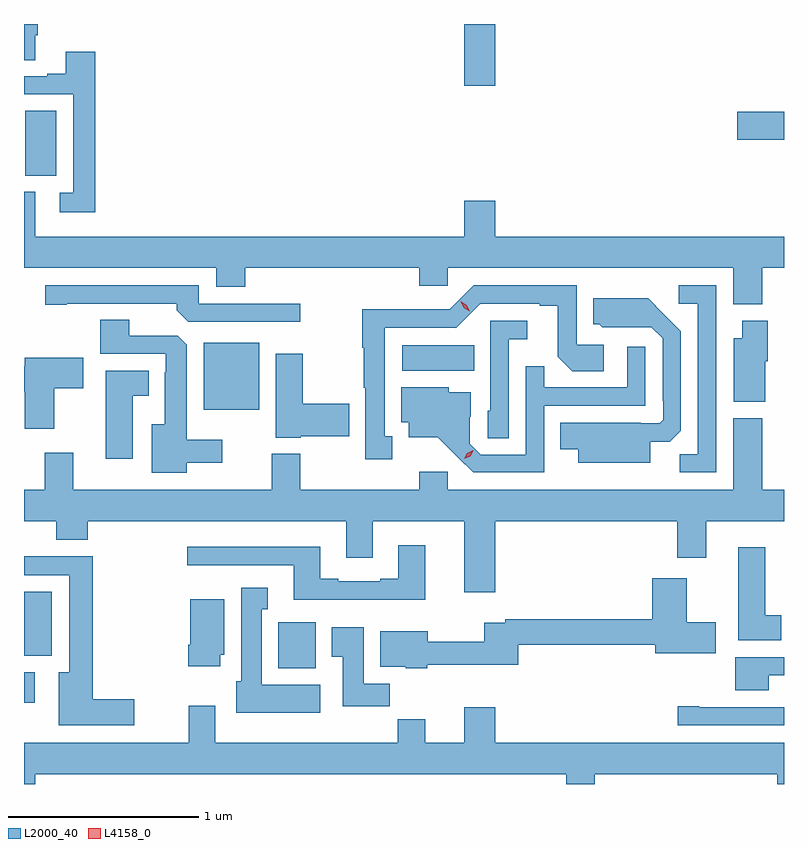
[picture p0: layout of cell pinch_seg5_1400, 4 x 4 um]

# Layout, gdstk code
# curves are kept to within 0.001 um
import gdstk
lib = gdstk.Library(unit=1e-6, precision=1e-09)
def R(c, l, rs):  # rectangles x0, y0, x1, y1
    for r in rs: c.add(gdstk.rectangle(r[:2], r[2:], *l))
def P(c, l, *ps):  # polygons
    for p in ps: c.add(gdstk.Polygon(p, *l))
L2000_40 = (2000, 40)
L4158_0 = (4158, 0)

pinch_seg5_1400 = lib.new_cell('pinch_seg5_1400')
R(pinch_seg5_1400, L2000_40, [(126.728,910.416,126.784,910.575), (128.066,910.598,128.263,910.84), (126.728,910.664,126.874,910.999), (127.673,911.957,127.966,912.31), (128.718,912.164,129.098,912.298), (126.734,913.189,126.898,913.532), (130.482,913.379,130.728,913.526), (129.044,913.662,129.208,913.988)])
P(pinch_seg5_1400, L2000_40, [(126.787,913.93),(126.8,913.93),(126.8,913.988),(126.728,913.988),(126.728,913.798),(126.787,913.798)],
  [(127.103,913.843),(126.947,913.843),(126.947,913.726),(126.851,913.726),(126.851,913.713),(126.728,913.713),(126.728,913.617),(126.987,913.617),(126.987,913.101),(126.915,913.101),(126.915,912.996),(127.103,912.996)],
  [(130.613,912.704),(130.728,912.704),(130.728,912.868),(129.208,912.868),(129.208,913.057),(129.044,913.057),(129.044,912.868),(126.787,912.868),(126.787,913.104),(126.728,913.104),(126.728,912.704),(127.739,912.704),(127.739,912.605),(127.892,912.605),(127.892,912.704),(128.807,912.704),(128.807,912.611),(128.958,912.611),(128.958,912.704),(130.46,912.704),(130.46,912.512),(130.613,912.512)],
  [(128.182,912.516),(127.647,912.516),(127.647,912.612),(126.84,912.612),(126.84,912.511),(126.952,912.511),(126.952,912.516),(127.532,912.516),(127.532,912.482),(127.593,912.42),(128.182,912.42)],
  [(130.371,912.612),(130.173,912.612),(130.173,912.516),(130.275,912.516),(130.275,911.723),(130.18,911.723),(130.18,911.628),(130.371,911.628)],
  [(128.665,911.817),(128.626,911.817),(128.626,912.39),(129.003,912.39),(129.129,912.516),(129.443,912.516),(129.443,912.504),(129.537,912.504),(129.537,912.236),(129.613,912.16),(129.778,912.16),(129.778,912.3),(129.636,912.3),(129.636,912.612),(129.096,912.612),(128.97,912.486),(128.748,912.486),(128.748,912.488),(128.508,912.488),(128.508,912.283),(128.515,912.283),(128.515,912.073),(128.525,912.073),(128.525,911.697),(128.665,911.697)],
  [(130.024,911.789),(130.126,911.789),(130.185,911.848),(130.185,912.37),(130.013,912.544),(129.725,912.544),(129.725,912.408),(129.756,912.408),(129.772,912.392),(130.029,912.393),(130.089,912.333),(130.089,912.004),(130.092,912.004),(130.092,911.904),(130.074,911.886),(129.974,911.886),(129.974,911.89),(129.55,911.89),(129.55,911.75),(129.644,911.75),(129.644,911.678),(130.024,911.678)],
  [(127.585,911.678),(127.771,911.678),(127.771,911.8),(127.585,911.8),(127.585,912.299),(127.536,912.348),(127.282,912.348),(127.282,912.431),(127.13,912.431),(127.13,912.252),(127.473,912.252),(127.473,912.155),(127.469,912.155),(127.469,911.881),(127.4,911.881),(127.4,911.627),(127.585,911.627)],
  [(130.63,912.213),(130.643,912.213),(130.643,912.427),(130.508,912.427),(130.508,912.334),(130.463,912.334),(130.463,911.999),(130.63,911.999)],
  [(129.279,912.329),(129.376,912.329),(129.376,912.426),(129.183,912.426),(129.183,911.952),(129.168,911.952),(129.168,911.809),(129.279,911.809)],
  [(129.465,911.979),(129.999,911.979),(129.999,912.289),(129.903,912.289),(129.903,912.075),(129.467,912.075),(129.467,912.188),(129.369,912.188),(129.369,911.721),(129.132,911.721),(129.075,911.778),(129.075,911.92),(129.079,911.92),(129.079,912.049),(128.964,912.049),(128.964,912.076),(128.714,912.076),(128.714,911.892),(128.753,911.892),(128.753,911.813),(128.905,911.813),(129.092,911.628),(129.465,911.628)],
  [(128.184,911.819),(128.44,911.819),(128.44,911.99),(128.196,911.99),(128.196,912.253),(128.054,912.253),(128.054,911.81),(128.184,911.81)],
  [(126.886,912.07),(127.039,912.07),(127.039,912.232),(126.731,912.232),(126.731,912.188),(126.728,912.188),(126.728,912.052),(126.731,912.052),(126.731,911.859),(126.886,911.859)],
  [(127.3,912.032),(127.384,912.032),(127.384,912.163),(127.157,912.163),(127.157,911.7),(127.3,911.7)],
  [(129.208,911.372),(130.166,911.372),(130.166,911.178),(130.318,911.178),(130.318,911.372),(130.728,911.372),(130.728,911.536),(130.613,911.536),(130.613,911.914),(130.46,911.914),(130.46,911.536),(128.958,911.536),(128.958,911.632),(128.807,911.632),(128.807,911.536),(128.181,911.536),(128.181,911.725),(128.033,911.725),(128.033,911.536),(126.988,911.536),(126.988,911.731),(126.836,911.731),(126.836,911.536),(126.728,911.536),(126.728,911.372),(126.899,911.372),(126.899,911.273),(127.064,911.273),(127.064,911.372),(128.423,911.372),(128.423,911.178),(128.563,911.178),(128.563,911.372),(129.044,911.372),(129.044,910.998),(129.208,910.998)],
  [(128.839,911.245),(128.699,911.245),(128.699,911.068),(128.603,911.068),(128.603,911.055),(128.383,911.055),(128.383,911.068),(128.287,911.068),(128.287,911.236),(127.587,911.236),(127.587,911.139),(128.147,911.139),(128.147,910.958),(128.839,910.958)],
  [(130.714,910.876),(130.63,910.876),(130.63,911.233),(130.487,911.233),(130.487,910.745),(130.714,910.745)],
  [(127.309,910.433),(127.091,910.433),(127.091,911.186),(126.728,911.186),(126.728,911.088),(126.965,911.088),(126.965,910.576),(126.911,910.576),(126.911,910.298),(127.309,910.298)],
  [(128.85,910.616),(129.329,910.616),(129.329,910.72),(130.05,910.72),(130.05,910.676),(130.369,910.676),(130.369,910.839),(130.216,910.839),(130.216,911.071),(130.034,911.071),(130.034,910.856),(129.262,910.856),(129.262,910.836),(129.151,910.836),(129.151,910.738),(128.854,910.738),(128.854,910.792),(128.603,910.792),(128.603,910.604),(128.736,910.604),(128.736,910.598),(128.85,910.598)],
  [(128.287,910.51),(127.978,910.51),(127.978,910.907),(128.011,910.907),(128.011,911.02),(127.871,911.02),(127.871,910.53),(127.844,910.53),(127.844,910.364),(128.287,910.364)],
  [(127.762,910.668),(127.783,910.668),(127.783,910.96),(127.604,910.96),(127.604,910.72),(127.592,910.72),(127.592,910.608),(127.762,910.608)],
  [(128.654,910.516),(128.515,910.516),(128.515,910.813),(128.348,910.813),(128.348,910.657),(128.405,910.657),(128.405,910.398),(128.654,910.398)],
  [(130.648,910.56),(130.728,910.56),(130.728,910.656),(130.472,910.656),(130.472,910.481),(130.648,910.481)],
  [(126.788,910.04),(129.581,910.04),(129.581,909.988),(129.733,909.988),(129.733,910.04),(130.693,910.04),(130.693,909.988),(130.728,909.988),(130.728,910.204),(129.208,910.204),(129.208,910.393),(129.044,910.393),(129.044,910.204),(128.839,910.204),(128.839,910.328),(128.695,910.328),(128.695,910.204),(127.735,910.204),(127.735,910.399),(127.595,910.399),(127.595,910.204),(126.728,910.204),(126.728,909.988),(126.788,909.988)],
  [(130.728,910.392),(130.282,910.392),(130.282,910.397),(130.17,910.397),(130.17,910.296),(130.728,910.296)])
P(pinch_seg5_1400, L4158_0, [(129.075,912.475),(129.043,912.495),(129.027,912.528),(129.027,912.528),(129.027,912.528),(129.058,912.508),(129.075,912.475),(129.075,912.475)],
  [(129.045,911.699),(129.045,911.699),(129.062,911.728),(129.092,911.744),(129.093,911.744),(129.093,911.743),(129.076,911.714),(129.045,911.699)])

lib.write_gds('pinch_seg5_1400.gds')
